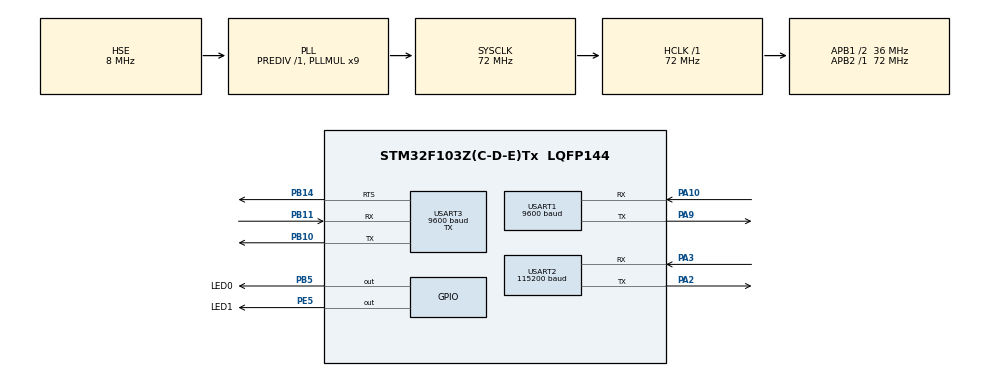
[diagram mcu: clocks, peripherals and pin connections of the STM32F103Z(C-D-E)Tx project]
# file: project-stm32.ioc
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FREERTOS.INCLUDE_xTaskGetHandle=1
FREERTOS.Tasks01=defaultTask,24,128,StartDefaultTask,Default,NULL,Dynamic,NULL,NULL;Task_PrintCtrl,24,512,Func_PrintCtrl,Default,NULL,Dynamic,NULL,NULL;Task_UsartRX,32,512,Func_UsartRX,Default,NULL,Dynamic,NULL,NULL
FREERTOS.configTOTAL_HEAP_SIZE=7000
Mcu.Family=STM32F1
Mcu.Name=STM32F103Z(C-D-E)Tx
Mcu.Package=LQFP144
NVIC.PriorityGroup=NVIC_PRIORITYGROUP_4
NVIC.TIM6_IRQn=true\:15\:0\:false\:false\:true\:false\:false\:true\:true
NVIC.TimeBase=TIM6_IRQn
NVIC.TimeBaseIP=TIM6
NVIC.USART1_IRQn=true\:5\:0\:true\:false\:true\:true\:true\:true\:true
NVIC.USART2_IRQn=true\:5\:0\:true\:false\:true\:true\:true\:true\:true
OSC_IN.Mode=HSE-External-Oscillator
OSC_IN.Signal=RCC_OSC_IN
OSC_OUT.Mode=HSE-External-Oscillator
OSC_OUT.Signal=RCC_OSC_OUT
PA10.Mode=Asynchronous
PA10.Signal=USART1_RX
PA13.Mode=Serial_Wire
PA13.Signal=SYS_JTMS-SWDIO
PA14.Mode=Serial_Wire
PA14.Signal=SYS_JTCK-SWCLK
PA2.Mode=Asynchronous
PA2.Signal=USART2_TX
PA3.Mode=Asynchronous
PA3.Signal=USART2_RX
PA9.Mode=Asynchronous
PA9.Signal=USART1_TX
PB10.Mode=Asynchronous
PB10.Signal=USART3_TX
PB11.Mode=Asynchronous
PB11.Signal=USART3_RX
PB14.Mode=RTS_Only
PB14.Signal=USART3_RTS
PB5.GPIO_Label=LED0
PB5.GPIO_ModeDefaultOutputPP=GPIO_MODE_OUTPUT_PP
PB5.GPIO_PuPd=GPIO_NOPULL
PB5.GPIO_Speed=GPIO_SPEED_FREQ_HIGH
PB5.PinState=GPIO_PIN_SET
PB5.Signal=GPIO_Output
PE5.GPIO_Label=LED1
PE5.GPIO_ModeDefaultOutputPP=GPIO_MODE_OUTPUT_PP
PE5.GPIO_PuPd=GPIO_NOPULL
PE5.GPIO_Speed=GPIO_SPEED_FREQ_HIGH
PE5.PinState=GPIO_PIN_SET
PE5.Signal=GPIO_Output
ProjectManager.HeapSize=0x4000
ProjectManager.StackSize=0x2000
ProjectManager.TargetToolchain=MDK-ARM V5.32
RCC.AHBFreq_Value=72000000
RCC.APB1CLKDivider=RCC_HCLK_DIV2
RCC.APB1Freq_Value=36000000
RCC.APB1TimFreq_Value=72000000
RCC.APB2Freq_Value=72000000
RCC.APB2TimFreq_Value=72000000
RCC.HCLKFreq_Value=72000000
RCC.PLLMUL=RCC_PLL_MUL9
RCC.PLLSourceVirtual=RCC_PLLSOURCE_HSE
RCC.SYSCLKFreq_VALUE=72000000
RCC.SYSCLKSource=RCC_SYSCLKSOURCE_PLLCLK
RCC.USBFreq_Value=72000000
USART1.BaudRate=9600
USART1.VirtualMode=VM_ASYNC
USART2.BaudRate=115200
USART2.VirtualMode=VM_ASYNC
USART3.BaudRate=9600
USART3.Mode=MODE_TX
USART3.VirtualMode=VM_ASYNC
VP_FREERTOS_VS_CMSIS_V2.Mode=CMSIS_V2
VP_SYS_VS_tim6.Mode=TIM6
board=custom

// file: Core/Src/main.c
/* USER CODE BEGIN Header */
/**
  ******************************************************************************
  * @file           : main.c
  * @brief          : Main program body
  ******************************************************************************
  * @attention
  *
  * Copyright (c) 2024 STMicroelectronics.
  * All rights reserved.
  *
  * This software is licensed under terms that can be found in the LICENSE file
  * in the root directory of this software component.
  * If no LICENSE file comes with this software, it is provided AS-IS.
  *
  ******************************************************************************
  */
/* USER CODE END Header */
#include "main.h"
#include "cmsis_os.h"
#include "usart.h"
#include "gpio.h"

void SystemClock_Config(void);
void MX_FREERTOS_Init(void);

int main(void)
{

  /* MCU Configuration--------------------------------------------------------*/

  /* Reset of all peripherals, Initializes the Flash interface and the Systick. */
  HAL_Init();

  /* Configure the system clock */
  SystemClock_Config();

  /* Initialize all configured peripherals */
  MX_GPIO_Init();
  MX_USART3_UART_Init();
  MX_USART1_UART_Init();
  MX_USART2_UART_Init();

  /* Init scheduler */
  osKernelInitialize();  /* Call init function for freertos objects (in freertos.c) */
  MX_FREERTOS_Init();

  /* Start scheduler */
  osKernelStart();

  /* We should never get here as control is now taken by the scheduler */
  /* Infinite loop */
  while (1)
  {

  }
}

void SystemClock_Config(void)
{
  RCC_OscInitTypeDef RCC_OscInitStruct = {0};
  RCC_ClkInitTypeDef RCC_ClkInitStruct = {0};

  /** Initializes the RCC Oscillators according to the specified parameters
  * in the RCC_OscInitTypeDef structure.
  */
  RCC_OscInitStruct.OscillatorType = RCC_OSCILLATORTYPE_HSE;
  RCC_OscInitStruct.HSEState = RCC_HSE_ON;
  RCC_OscInitStruct.HSEPredivValue = RCC_HSE_PREDIV_DIV1;
  RCC_OscInitStruct.HSIState = RCC_HSI_ON;
  RCC_OscInitStruct.PLL.PLLState = RCC_PLL_ON;
  RCC_OscInitStruct.PLL.PLLSource = RCC_PLLSOURCE_HSE;
  RCC_OscInitStruct.PLL.PLLMUL = RCC_PLL_MUL9;
  if (HAL_RCC_OscConfig(&RCC_OscInitStruct) != HAL_OK)
  {
    Error_Handler();
  }

  /** Initializes the CPU, AHB and APB buses clocks
  */
  RCC_ClkInitStruct.ClockType = RCC_CLOCKTYPE_HCLK|RCC_CLOCKTYPE_SYSCLK
                              |RCC_CLOCKTYPE_PCLK1|RCC_CLOCKTYPE_PCLK2;
  RCC_ClkInitStruct.SYSCLKSource = RCC_SYSCLKSOURCE_PLLCLK;
  RCC_ClkInitStruct.AHBCLKDivider = RCC_SYSCLK_DIV1;
  RCC_ClkInitStruct.APB1CLKDivider = RCC_HCLK_DIV2;
  RCC_ClkInitStruct.APB2CLKDivider = RCC_HCLK_DIV1;

  if (HAL_RCC_ClockConfig(&RCC_ClkInitStruct, FLASH_LATENCY_2) != HAL_OK)
  {
    Error_Handler();
  }
}

void HAL_TIM_PeriodElapsedCallback(TIM_HandleTypeDef *htim)
{
  if (htim->Instance == TIM6) {
    HAL_IncTick();
  }
}

void Error_Handler(void)
{
  __disable_irq();
  while (1)
  {
  }
}

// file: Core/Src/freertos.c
/* USER CODE BEGIN Header */
/**
  ******************************************************************************
  * File Name          : freertos.c
  * Description        : Code for freertos applications
  ******************************************************************************
  * @attention
  *
  * Copyright (c) 2024 STMicroelectronics.
  * All rights reserved.
  *
  * This software is licensed under terms that can be found in the LICENSE file
  * in the root directory of this software component.
  * If no LICENSE file comes with this software, it is provided AS-IS.
  *
  ******************************************************************************
  */
/* USER CODE END Header */

#include "FreeRTOS.h"
#include "task.h"
#include "main.h"
#include "cmsis_os.h"

/* USER CODE BEGIN Includes */
#include "led.h"
#include "DP_Print_inc.h"
#include "uart.h"
#include "esp8266.h"
#include "queue.h"
/* USER CODE END Includes */

/* USER CODE BEGIN Variables */
extern char rxdata_buff_8266[1024];
extern int ESP8266_point;
extern bool esp8266_RX;
extern Order order;
extern char ESP8266_BUFFER[10][1024];

bool ESP8266_RX_DATA = false;

/* USER CODE END Variables */
/* Definitions for defaultTask */
osThreadId_t defaultTaskHandle;
const osThreadAttr_t defaultTask_attributes = {
  .name = "defaultTask",
  .stack_size = 128 * 4,
  .priority = (osPriority_t) osPriorityNormal,
};
/* Definitions for Task_PrintCtrl */
osThreadId_t Task_PrintCtrlHandle;
const osThreadAttr_t Task_PrintCtrl_attributes = {
  .name = "Task_PrintCtrl",
  .stack_size = 512 * 4,
  .priority = (osPriority_t) osPriorityNormal,
};
/* Definitions for Task_UsartRX */
osThreadId_t Task_UsartRXHandle;
const osThreadAttr_t Task_UsartRX_attributes = {
  .name = "Task_UsartRX",
  .stack_size = 512 * 4,
  .priority = (osPriority_t) osPriorityAboveNormal,
};

void StartDefaultTask(void *argument);
void Func_PrintCtrl(void *argument);
void Func_UsartRX(void *argument);

void MX_FREERTOS_Init(void); /* (MISRA C 2004 rule 8.1) */

void MX_FREERTOS_Init(void) {
  /* USER CODE BEGIN Init */
  //HAL_UARTEx_ReceiveToIdle_IT(&huart1, (uint8_t *)rxdata_buff_pc, sizeof(rxdata_buff_pc));
  //HAL_UART_Receive_IT(&huart1, &rxdata_pc, 1);

  HAL_UARTEx_ReceiveToIdle_IT(&huart2, (uint8_t *)rxdata_buff_8266, sizeof(rxdata_buff_8266));
  //HAL_UART_Receive_IT(&huart2, &rxdata_8266, 1);
  EM5820_init();

  /* USER CODE END Init */

  /* Create the thread(s) */
  /* creation of defaultTask */
  defaultTaskHandle = osThreadNew(StartDefaultTask, NULL, &defaultTask_attributes);

  /* creation of Task_PrintCtrl */
  Task_PrintCtrlHandle = osThreadNew(Func_PrintCtrl, NULL, &Task_PrintCtrl_attributes);

  /* creation of Task_UsartRX */
  Task_UsartRXHandle = osThreadNew(Func_UsartRX, NULL, &Task_UsartRX_attributes);

}

void StartDefaultTask(void *argument)
{
  /* USER CODE BEGIN StartDefaultTask */
  /* Infinite loop */
  for(;;)
  {
//  	LED_Control(LED0_GPIO_Port, LED0_Pin, LED_ON);
//    vTaskDelay(20);
//    LED_Control(LED0_GPIO_Port, LED0_Pin, LED_OFF);
//    vTaskDelay(20);
		//printf("runing!\r\n");
		vTaskDelay(10);
  }
  /* USER CODE END StartDefaultTask */
}

void Func_PrintCtrl(void *argument)
{
  /* USER CODE BEGIN Func_PrintCtrl */
  /* Infinite loop */
  uint32_t ret = 0;
  for(;;)
  {

	ret = ulTaskNotifyTake(pdTRUE, portMAX_DELAY);

	if(ret != 0)
	{
		taskENTER_CRITICAL();
		{
			EM5820_printData(order);
			ESP8266_point--;
		}
		taskEXIT_CRITICAL();
	}
   vTaskDelay(10);
  }
  /* USER CODE END Func_PrintCtrl */
}

void Func_UsartRX(void *argument)
{
  /* USER CODE BEGIN Func_UsartRX */
  /* Infinite loop */
  for(;;)
  {
  	if(ESP8266_point != 0)
  	{
  		for(int i = 0; i < 10; i++)
  		{
			if(!strcmp(ESP8266_BUFFER[i], "NULL"))
				continue;
			taskENTER_CRITICAL();
			{
				ESP8266_DataParse(ESP8266_BUFFER[i]);
				xTaskNotifyGive(xTaskGetHandle(Task_PrintCtrl_attributes.name));
			}
			taskEXIT_CRITICAL();

		}
  	}
    osDelay(10);
  }
  /* USER CODE END Func_UsartRX */
}
